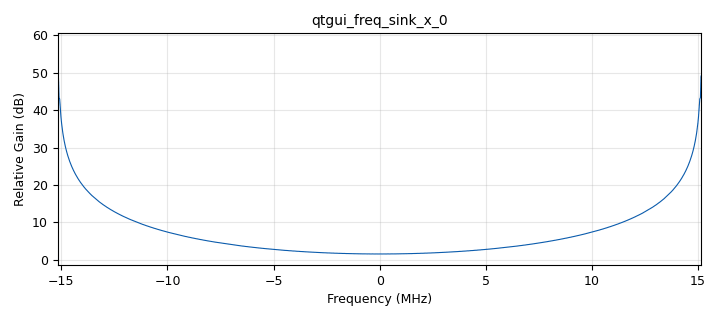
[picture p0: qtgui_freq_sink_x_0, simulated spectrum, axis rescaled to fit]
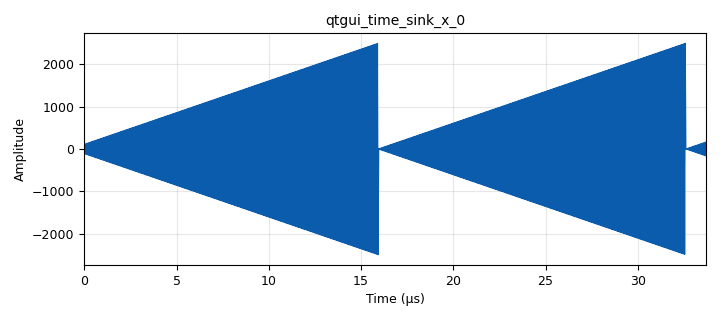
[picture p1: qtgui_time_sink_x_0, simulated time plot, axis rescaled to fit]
options:
  parameters:
    author: AndresGomezDanielCerro
    copyright: AndresGomezDanielCerro
    generate_options: qt_gui
    id: prueba_potencia
    output_language: python
    title: Prueba Potencia
  states: {}

blocks:
- name: Amplitud
  id: variable_qtgui_range
  parameters:
    orient: Qt.Horizontal
    start: '0'
    step: '1'
    stop: '100'
    value: '50'
  states: {}
- name: samp_rate
  id: variable
  parameters:
    value: '30336000'
  states: {}
- name: CalculoPotenciaComunicacionesD1A_0
  id: CalculoPotenciaComunicacionesD1A
  parameters:
    I_vect: '1024'
  states: {}
- name: analog_sig_source_x_0
  id: analog_sig_source_x
  parameters:
    amp: Amplitud
    freq: '60000'
    offset: '0'
    phase: '0'
    samp_rate: samp_rate
    type: float
    waveform: analog.GR_SAW_WAVE
  states: {}
- name: analog_sig_source_x_0_0
  id: analog_sig_source_x
  parameters:
    amp: Amplitud
    freq: '15168000'
    offset: '0'
    phase: '0'
    samp_rate: samp_rate
    type: float
    waveform: analog.GR_COS_WAVE
  states: {}
- name: blocks_multiply_xx_0
  id: blocks_multiply_xx
  parameters:
    type: float
  states: {}
- name: qtgui_freq_sink_x_0
  id: qtgui_freq_sink_x
  parameters:
    bw: samp_rate
    fc: '0'
    fftsize: '1024'
    type: float
    wintype: firdes.WIN_BLACKMAN_hARRIS
  states: {}
- name: qtgui_time_sink_x_0
  id: qtgui_time_sink_x
  parameters:
    size: '1024'
    srate: samp_rate
    type: float
  states: {}

connections:
- [analog_sig_source_x_0, '0', blocks_multiply_xx_0, '0']
- [analog_sig_source_x_0_0, '0', blocks_multiply_xx_0, '1']
- [blocks_multiply_xx_0, '0', CalculoPotenciaComunicacionesD1A_0, '0']
- [blocks_multiply_xx_0, '0', qtgui_freq_sink_x_0, '0']
- [blocks_multiply_xx_0, '0', qtgui_time_sink_x_0, '0']

metadata:
  file_format: 1
